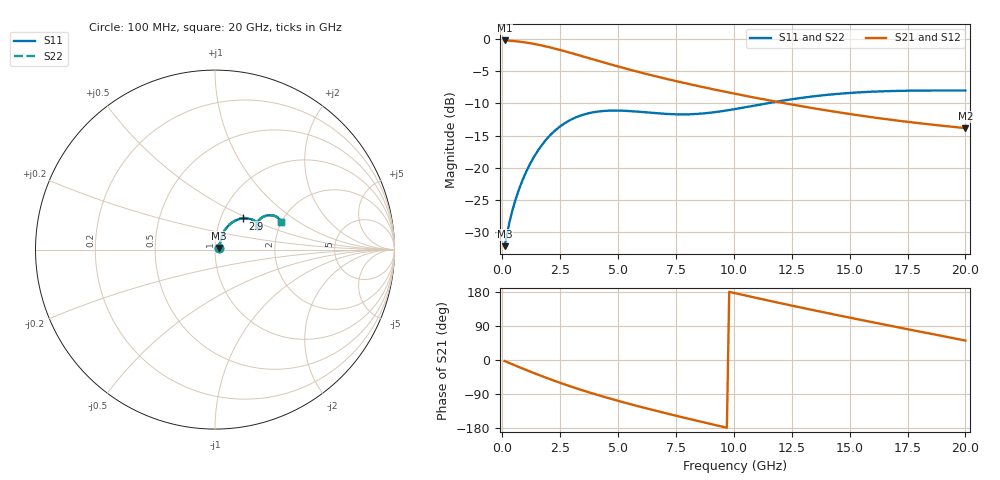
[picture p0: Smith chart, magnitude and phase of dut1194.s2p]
! Touchstone file exported from HFSS 2024.1.0
!  File:  C:/UserFiles/LocalFiles/RDL_TSV_Batchsim/temp_RDL_TSV_1194_1780128931.aedt
!  Generated:  04:31:54 PM May 30, 2026
!  Design:  RDL_TSV
!  Project:  temp_RDL_TSV_1194_1780128931
!  Setup:  Setup1
!  Solution:  Sweep
! Variables:
!  dtsv = 8.64um
!  hbump = 3um
!  htsv = 72.73um
!  ldown = 674.1um
!  lrdl = 680.79um
!  p = 40
!  p1 = 59.76um
!  rhole = 10um
!  subl = 4745.46um
!  t = 450um
!  tdown = 3.92um
!  trdl = 3.47um
!  viad = 10um
!  wdown = 25.56um
!  wrdl = 19.02um
!  xbump = 18um
# GHz S MA R 50.000000
! Terminal data exported
! Port[1] = TM1_1_T1
! Port[2] = TM1_4_T1
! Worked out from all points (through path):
!   200 points, 100 MHz to 20 GHz, reference 50 ohm
!   highest |S21| = -0.20 dB at 100 MHz (marker M1); lowest = -13.8 dB at 20 GHz (marker M2)
!   group delay of S21, straight-line fit = 40.7 ps
!   lowest |S11| = -32.2 dB at 100 MHz (marker M3), VSWR 1.05, Z = 52.3 + j0.987 ohm
!   |S11| at or under -10 dB: start of sweep to 11.4 GHz
!   |S22| runs from -32.2 to -7.9 dB; largest |S21 - S12| = 5.2e-15
!   S11 on the Smith chart (normalised r, x): 100 MHz: 1.05, +0.02; 2.9 GHz: 1.27, +0.47; 20 GHz: 1.98, +0.73
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0.1  0.02454 22.6  0.9772 -2.7  0.9772 -2.7  0.02454 22.6
! Gamma 0 0 0 0
! Port Impedance 50 0 50 0
0.3  0.03689 45.7  0.9727 -7.9  0.9727 -7.9  0.03688 45.8
0.6  0.05854 58.0  0.9626 -15.5  0.9626 -15.5  0.05853 58.1
0.9  0.08211 62.5  0.9484 -23.1  0.9484 -23.1  0.08213 62.6
1.2  0.1071 63.5  0.9304 -30.5  0.9304 -30.5  0.1072 63.6
1.6  0.141 61.8  0.9014 -40.0  0.9014 -40.0  0.1413 62.0
2  0.1737 58.3  0.8683 -49.3  0.8683 -49.3  0.1742 58.5
2.4  0.2032 53.9  0.8328 -58.2  0.8328 -58.2  0.2038 54.2
2.9  0.2334 48.1  0.7871 -68.7  0.7871 -68.7  0.2343 48.3
3.5  0.2588 41.3  0.7329 -80.7  0.7329 -80.7  0.26 41.5
4.3  0.2756 33.7  0.6657 -95.6  0.6657 -95.6  0.2772 33.9
5.1  0.278 28.3  0.6063 -109.4  0.6063 -109.4  0.28 28.5
5.9  0.2725 25.4  0.5548 -122.5  0.5548 -122.5  0.2747 25.6
6.8  0.2641 24.8  0.5053 -136.5  0.5053 -136.5  0.2664 25.0
7.5  0.2603 26.1  0.4718 -147.0  0.4718 -147.0  0.2626 26.1
8.3  0.2614 28.5  0.4379 -158.8  0.4379 -158.8  0.2638 28.5
10.1  0.2869 33.5  0.3746 175.7  0.3746 175.7  0.2891 33.4
11.7  0.3232 34.3  0.3296 154.1  0.3296 154.1  0.3253 34.2
13.4  0.3585 32.3  0.291 131.9  0.291 131.9  0.3607 32.2
15  0.3816 29.3  0.2618 111.8  0.2618 111.8  0.3839 29.2
16.7  0.3946 26.2  0.2372 91.0  0.2372 91.0  0.397 26.1
20  0.3986 22.8  0.2033 51.3  0.2033 51.3  0.4011 22.6
